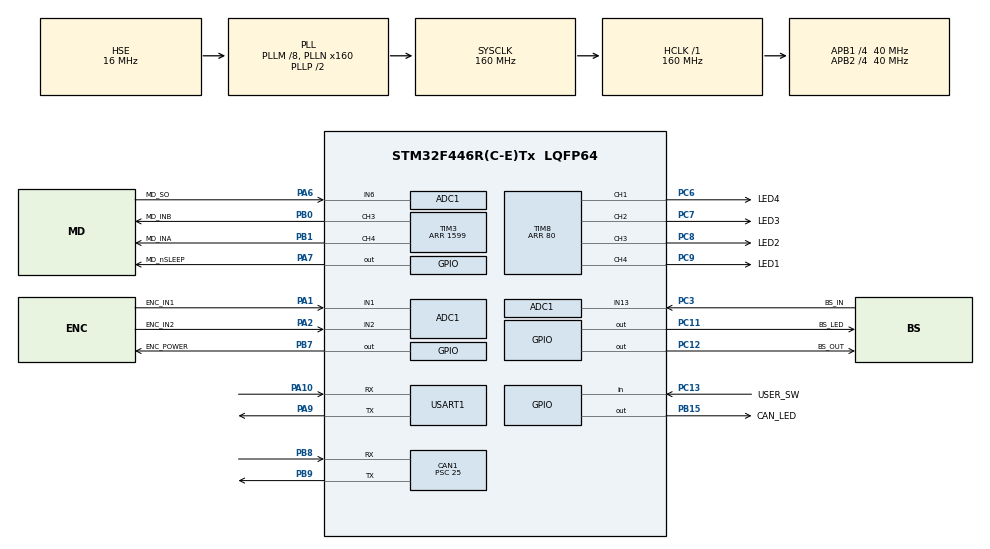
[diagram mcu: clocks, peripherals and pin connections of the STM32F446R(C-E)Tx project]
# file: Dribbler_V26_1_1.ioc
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ADC1.Channel-0\#ChannelRegularConversion=ADC_CHANNEL_6
ADC1.Channel-1\#ChannelRegularConversion=ADC_CHANNEL_13
ADC1.Channel-2\#ChannelRegularConversion=ADC_CHANNEL_1
ADC1.Channel-3\#ChannelRegularConversion=ADC_CHANNEL_2
ADC1.ClockPrescaler=ADC_CLOCK_SYNC_PCLK_DIV4
ADC1.ContinuousConvMode=ENABLE
ADC1.DMAContinuousRequests=ENABLE
ADC1.EOCSelection=ADC_EOC_SEQ_CONV
ADC1.NbrOfConversion=4
ADC1.NbrOfConversionFlag=1
ADC1.Rank-0\#ChannelRegularConversion=1
ADC1.Rank-1\#ChannelRegularConversion=2
ADC1.Rank-2\#ChannelRegularConversion=3
ADC1.Rank-3\#ChannelRegularConversion=4
ADC1.SamplingTime-0\#ChannelRegularConversion=ADC_SAMPLETIME_56CYCLES
ADC1.SamplingTime-1\#ChannelRegularConversion=ADC_SAMPLETIME_56CYCLES
ADC1.SamplingTime-2\#ChannelRegularConversion=ADC_SAMPLETIME_480CYCLES
ADC1.SamplingTime-3\#ChannelRegularConversion=ADC_SAMPLETIME_480CYCLES
ADC1.ScanConvMode=ENABLE
ADC1.master=1
CAN1.BS1=CAN_BS1_13TQ
CAN1.BS2=CAN_BS2_2TQ
CAN1.CalculateBaudRate=100000
CAN1.CalculateTimeBit=10000
CAN1.CalculateTimeQuantum=625.0
CAN1.ABOM=ENABLE
CAN1.Prescaler=25
CAN1.TTCM=ENABLE
CAN1.TXFP=ENABLE
Dma.ADC1.0.Direction=DMA_PERIPH_TO_MEMORY
Dma.ADC1.0.FIFOMode=DMA_FIFOMODE_DISABLE
Dma.ADC1.0.Instance=DMA2_Stream0
Dma.ADC1.0.MemDataAlignment=DMA_MDATAALIGN_HALFWORD
Dma.ADC1.0.MemInc=DMA_MINC_ENABLE
Dma.ADC1.0.Mode=DMA_CIRCULAR
Dma.ADC1.0.PeriphDataAlignment=DMA_PDATAALIGN_HALFWORD
Dma.ADC1.0.PeriphInc=DMA_PINC_DISABLE
Dma.ADC1.0.Priority=DMA_PRIORITY_LOW
Dma.Request0=ADC1
Mcu.Family=STM32F4
Mcu.Name=STM32F446R(C-E)Tx
Mcu.Package=LQFP64
NVIC.CAN1_RX0_IRQn=true\:0\:0\:false\:false\:true\:true\:true\:true
NVIC.CAN1_RX1_IRQn=true\:0\:0\:false\:false\:true\:true\:true\:true
NVIC.CAN1_TX_IRQn=true\:0\:0\:false\:false\:true\:true\:true\:true
NVIC.DMA2_Stream0_IRQn=true\:0\:0\:false\:false\:true\:false\:true\:true
NVIC.PriorityGroup=NVIC_PRIORITYGROUP_4
PA1.GPIO_Label=ENC_IN1
PA1.Signal=ADCx_IN1
PA10.Mode=Asynchronous
PA10.Signal=USART1_RX
PA13.Mode=Serial_Wire
PA13.Signal=SYS_JTMS-SWDIO
PA14.Mode=Serial_Wire
PA14.Signal=SYS_JTCK-SWCLK
PA2.GPIO_Label=ENC_IN2
PA2.Signal=ADCx_IN2
PA6.GPIO_Label=MD_SO
PA6.Signal=ADCx_IN6
PA7.GPIO_Label=MD_nSLEEP
PA7.Signal=GPIO_Output
PA9.Mode=Asynchronous
PA9.Signal=USART1_TX
PB0.GPIO_Label=MD_INB
PB0.Signal=S_TIM3_CH3
PB1.GPIO_Label=MD_INA
PB1.Signal=S_TIM3_CH4
PB15.GPIO_Label=CAN_LED
PB15.Signal=GPIO_Output
PB7.GPIO_Label=ENC_POWER
PB7.Signal=GPIO_Output
PB8.Mode=CAN_Activate
PB8.Signal=CAN1_RX
PB9.Mode=CAN_Activate
PB9.Signal=CAN1_TX
PC11.GPIO_Label=BS_LED
PC11.Signal=GPIO_Output
PC12.GPIO_Label=BS_OUT
PC12.Signal=GPIO_Output
PC13.GPIO_Label=USER_SW
PC13.Signal=GPIO_Input
PC3.GPIO_Label=BS_IN
PC3.Signal=ADCx_IN13
PC6.GPIO_Label=LED4
PC6.Signal=S_TIM8_CH1
PC7.GPIO_Label=LED3
PC7.Signal=S_TIM8_CH2
PC8.GPIO_Label=LED2
PC8.Signal=S_TIM8_CH3
PC9.GPIO_Label=LED1
PC9.Signal=S_TIM8_CH4
PH0-OSC_IN.Mode=HSE-External-Oscillator
PH0-OSC_IN.Signal=RCC_OSC_IN
PH1-OSC_OUT.Mode=HSE-External-Oscillator
PH1-OSC_OUT.Signal=RCC_OSC_OUT
ProjectManager.HeapSize=0x200
ProjectManager.StackSize=0x400
ProjectManager.TargetToolchain=Makefile
RCC.AHBFreq_Value=160000000
RCC.APB1CLKDivider=RCC_HCLK_DIV4
RCC.APB1Freq_Value=40000000
RCC.APB1TimFreq_Value=80000000
RCC.APB2CLKDivider=RCC_HCLK_DIV4
RCC.APB2Freq_Value=40000000
RCC.APB2TimFreq_Value=80000000
RCC.CortexFreq_Value=160000000
RCC.HCLKFreq_Value=160000000
RCC.HSE_VALUE=16000000
RCC.PLLM=8
RCC.PLLN=160
RCC.PLLSourceVirtual=RCC_PLLSOURCE_HSE
RCC.SYSCLKFreq_VALUE=160000000
RCC.SYSCLKSource=RCC_SYSCLKSOURCE_PLLCLK
RCC.USBFreq_Value=160000000
RCC.VCOOutputFreq_Value=320000000
SH.ADCx_IN1.0=ADC1_IN1,IN1
SH.ADCx_IN13.0=ADC1_IN13,IN13
SH.ADCx_IN2.0=ADC1_IN2,IN2
SH.ADCx_IN6.0=ADC1_IN6,IN6
SH.S_TIM3_CH3.0=TIM3_CH3,PWM Generation3 CH3
SH.S_TIM3_CH4.0=TIM3_CH4,PWM Generation4 CH4
SH.S_TIM8_CH1.0=TIM8_CH1,PWM Generation1 CH1
SH.S_TIM8_CH2.0=TIM8_CH2,PWM Generation2 CH2
SH.S_TIM8_CH3.0=TIM8_CH3,PWM Generation3 CH3
SH.S_TIM8_CH4.0=TIM8_CH4,PWM Generation4 CH4
TIM3.Channel-PWM\ Generation3\ CH3=TIM_CHANNEL_3
TIM3.Channel-PWM\ Generation4\ CH4=TIM_CHANNEL_4
TIM3.Period=1599
TIM8.Channel-PWM\ Generation1\ CH1=TIM_CHANNEL_1
TIM8.Channel-PWM\ Generation2\ CH2=TIM_CHANNEL_2
TIM8.Channel-PWM\ Generation3\ CH3=TIM_CHANNEL_3
TIM8.Channel-PWM\ Generation4\ CH4=TIM_CHANNEL_4
TIM8.Period=80
USART1.VirtualMode=VM_ASYNC
board=custom

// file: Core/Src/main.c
/* USER CODE BEGIN Header */
/**
 ******************************************************************************
 * @file           : main.c
 * @brief          : Main program body
 ******************************************************************************
 * @attention
 *
 * Copyright (c) 2025 STMicroelectronics.
 * All rights reserved.
 *
 * This software is licensed under terms that can be found in the LICENSE file
 * in the root directory of this software component.
 * If no LICENSE file comes with this software, it is provided AS-IS.
 *
 ******************************************************************************
 */
/* USER CODE END Header */
#include "main.h"
#include "adc.h"
#include "can.h"
#include "dma.h"
#include "tim.h"
#include "usart.h"
#include "gpio.h"

/* USER CODE BEGIN Includes */
#include "app.h"
/* USER CODE END Includes */

void SystemClock_Config(void);

/* USER CODE BEGIN 0 */
// app.c の起動診断ブレッドクラム。停止箇所の特定に使う
extern volatile uint32_t g_diag_step;

int _write(int file, char* ptr, int len) {
      // 115200baudでは10msに約115バイトしか送れず、長い行が途中で
      // 打ち切られてUTF-8が壊れる。バイト数に応じた余裕を持たせる。
      HAL_UART_Transmit(&huart1, (uint8_t*)ptr, len, (uint32_t)len + 100);
      return len;
}
/* USER CODE END 0 */

int main(void)
{

  /* MCU Configuration--------------------------------------------------------*/

  /* Reset of all peripherals, Initializes the Flash interface and the Systick. */
  HAL_Init();

  /* Configure the system clock */
  SystemClock_Config();

  /* Initialize all configured peripherals */
  MX_GPIO_Init();
  MX_DMA_Init();
  MX_CAN1_Init();
  MX_TIM3_Init();
  MX_USART1_UART_Init();
  MX_ADC1_Init();
  MX_TIM8_Init();

  /* Infinite loop */
  /* USER CODE BEGIN WHILE */
      Setup();
      MainApp();
      while (1) {
    /* USER CODE END WHILE */

      }
}

void SystemClock_Config(void)
{
  RCC_OscInitTypeDef RCC_OscInitStruct = {0};
  RCC_ClkInitTypeDef RCC_ClkInitStruct = {0};

  /** Configure the main internal regulator output voltage
  */
  __HAL_RCC_PWR_CLK_ENABLE();
  __HAL_PWR_VOLTAGESCALING_CONFIG(PWR_REGULATOR_VOLTAGE_SCALE1);

  /** Initializes the RCC Oscillators according to the specified parameters
  * in the RCC_OscInitTypeDef structure.
  */
  RCC_OscInitStruct.OscillatorType = RCC_OSCILLATORTYPE_HSE;
  RCC_OscInitStruct.HSEState = RCC_HSE_ON;
  RCC_OscInitStruct.PLL.PLLState = RCC_PLL_ON;
  RCC_OscInitStruct.PLL.PLLSource = RCC_PLLSOURCE_HSE;
  RCC_OscInitStruct.PLL.PLLM = 8;
  RCC_OscInitStruct.PLL.PLLN = 160;
  RCC_OscInitStruct.PLL.PLLP = RCC_PLLP_DIV2;
  RCC_OscInitStruct.PLL.PLLQ = 2;
  RCC_OscInitStruct.PLL.PLLR = 2;
  if (HAL_RCC_OscConfig(&RCC_OscInitStruct) != HAL_OK)
  {
    Error_Handler();
  }

  /** Initializes the CPU, AHB and APB buses clocks
  */
  RCC_ClkInitStruct.ClockType = RCC_CLOCKTYPE_HCLK|RCC_CLOCKTYPE_SYSCLK
                              |RCC_CLOCKTYPE_PCLK1|RCC_CLOCKTYPE_PCLK2;
  RCC_ClkInitStruct.SYSCLKSource = RCC_SYSCLKSOURCE_PLLCLK;
  RCC_ClkInitStruct.AHBCLKDivider = RCC_SYSCLK_DIV1;
  RCC_ClkInitStruct.APB1CLKDivider = RCC_HCLK_DIV4;
  RCC_ClkInitStruct.APB2CLKDivider = RCC_HCLK_DIV4;

  if (HAL_RCC_ClockConfig(&RCC_ClkInitStruct, FLASH_LATENCY_5) != HAL_OK)
  {
    Error_Handler();
  }
}

void Error_Handler(void)
{
  /* USER CODE BEGIN Error_Handler_Debug */
      /* 無言で停止すると原因が分からないため、停止前に状況を吐き出す。
         UART未初期化のうちに呼ばれた場合は送信をスキップする。 */
      if (huart1.Instance != NULL) {
            printf("\r\n[FATAL] Error_Handler() at diag_step=%lu, caller=0x%08lX\r\n",
                   (unsigned long)g_diag_step,
                   (unsigned long)(uintptr_t)__builtin_return_address(0));
            printf("[FATAL] CAN  State=%d Err=0x%08lX MSR=0x%08lX ESR=0x%08lX\r\n",
                   (int)hcan1.State, (unsigned long)hcan1.ErrorCode,
                   (unsigned long)CAN1->MSR, (unsigned long)CAN1->ESR);
            printf("[FATAL] ADC  State=0x%08lX Err=0x%08lX\r\n",
                   (unsigned long)hadc1.State, (unsigned long)hadc1.ErrorCode);
            printf("[FATAL] halt.\r\n");
      }
      __disable_irq();
      while (1) {
      }
  /* USER CODE END Error_Handler_Debug */
}
